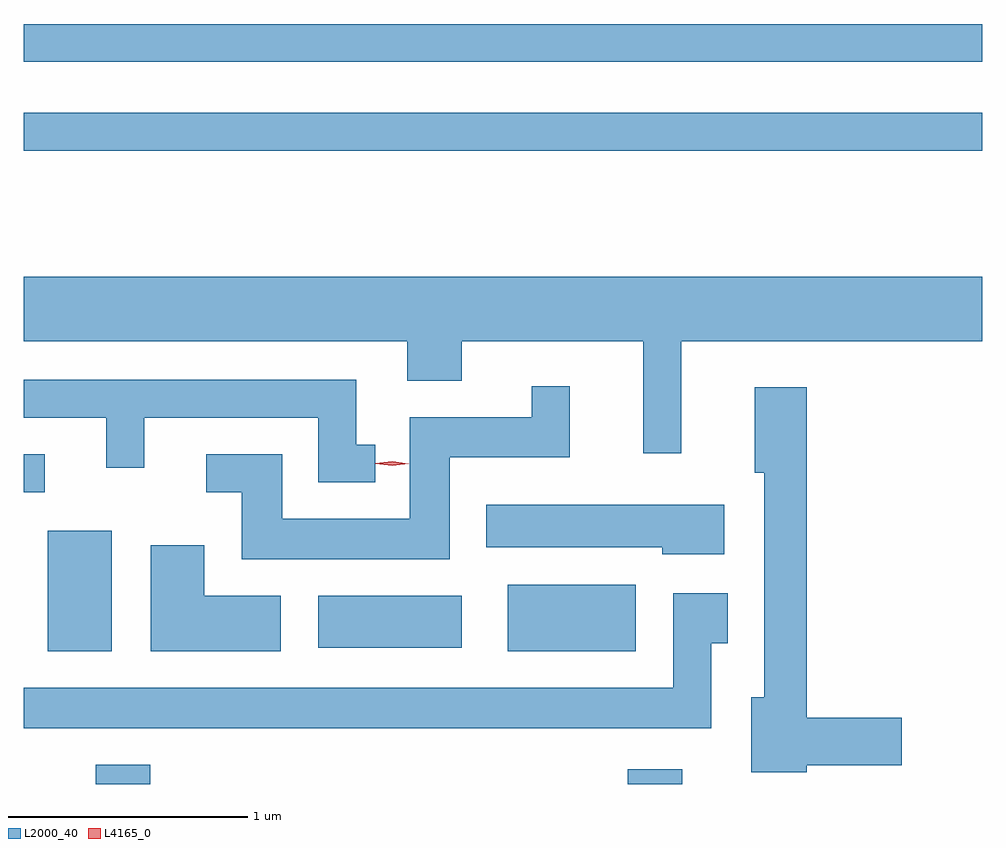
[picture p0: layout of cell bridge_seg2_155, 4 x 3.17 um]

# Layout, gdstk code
import gdstk
lib = gdstk.Library(unit=1e-6, precision=1e-09)
def R(c, l, rs):  # rectangles x0, y0, x1, y1
    for r in rs: c.add(gdstk.rectangle(r[:2], r[2:], *l))
def P(c, l, *ps):  # polygons
    for p in ps: c.add(gdstk.Polygon(p, *l))
L2000_40 = (2000, 40)
L4165_0 = (4165, 0)

bridge_seg2_155 = lib.new_cell('bridge_seg2_155')
R(bridge_seg2_155, L2000_40, [(682.061,1059.788,682.289,1059.869), (684.281,1059.788,684.509,1059.849), (681.861,1060.341,682.129,1060.844), (683.781,1060.341,684.314,1060.619), (682.991,1060.356,683.589,1060.574), (681.761,1061.006,681.848,1061.164), (681.761,1062.431,685.761,1062.589), (681.761,1062.801,685.761,1062.959)])
P(bridge_seg2_155, L2000_40, [(684.504,1061.636),(685.761,1061.636),(685.761,1061.904),(681.761,1061.904),(681.761,1061.636),(683.361,1061.636),(683.361,1061.471),(683.589,1061.471),(683.589,1061.636),(684.346,1061.636),(684.346,1061.168),(684.504,1061.168)],
  [(683.228,1061.204),(683.149,1061.204),(683.149,1061.474),(681.761,1061.474),(681.761,1061.316),(682.106,1061.316),(682.106,1061.108),(682.264,1061.108),(682.264,1061.316),(682.991,1061.316),(682.991,1061.046),(683.228,1061.046)],
  [(683.539,1061.151),(684.039,1061.151),(684.039,1061.448),(683.881,1061.448),(683.881,1061.319),(683.371,1061.319),(683.371,1060.894),(682.839,1060.894),(682.839,1061.164),(682.523,1061.164),(682.523,1061.006),(682.671,1061.006),(682.671,1060.726),(683.539,1060.726)],
  [(685.029,1059.866),(685.424,1059.866),(685.424,1060.064),(685.029,1060.064),(685.029,1061.444),(684.811,1061.444),(684.811,1061.086),(684.851,1061.086),(684.851,1060.149),(684.796,1060.149),(684.796,1059.836),(685.029,1059.836)],
  [(684.684,1060.954),(683.691,1060.954),(683.691,1060.776),(684.426,1060.776),(684.426,1060.746),(684.684,1060.746)],
  [(682.834,1060.574),(682.514,1060.574),(682.514,1060.784),(682.291,1060.784),(682.291,1060.341),(682.834,1060.341)],
  [(684.629,1060.376),(684.699,1060.376),(684.699,1060.584),(684.471,1060.584),(684.471,1060.189),(681.761,1060.189),(681.761,1060.021),(684.629,1060.021)])
P(bridge_seg2_155, L4165_0, [(683.298,1061.115),(683.229,1061.124),(683.229,1061.125),(683.229,1061.126),(683.298,1061.135),(683.368,1061.125),(683.368,1061.124),(683.368,1061.124)])

lib.write_gds('bridge_seg2_155.gds')
